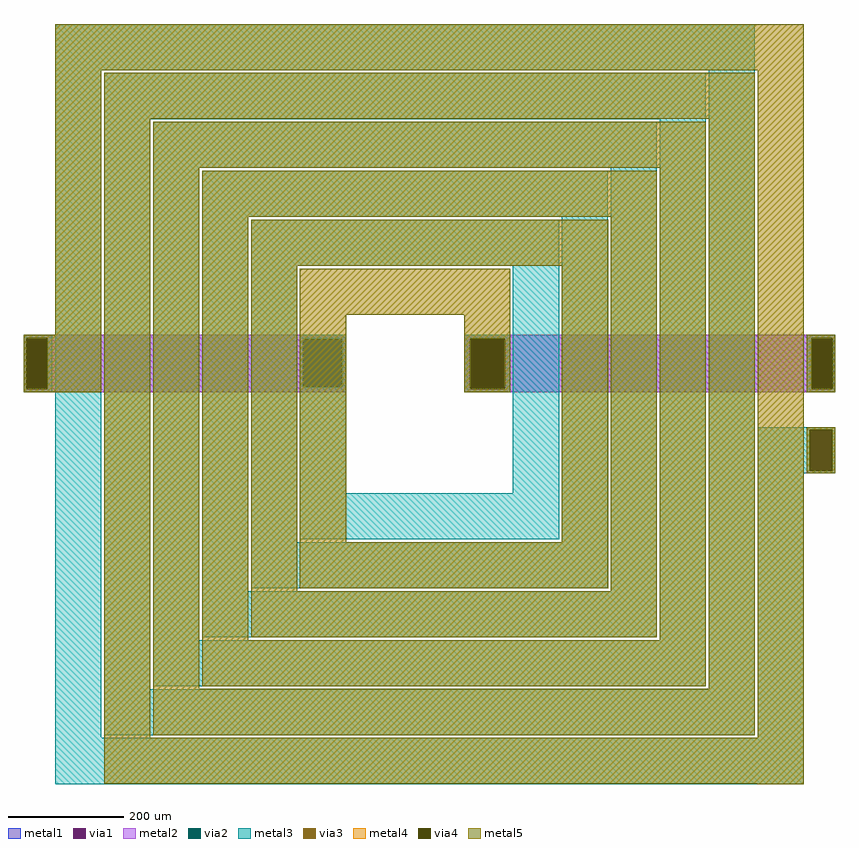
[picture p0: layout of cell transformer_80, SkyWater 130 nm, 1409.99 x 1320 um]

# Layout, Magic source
magic
tech sky130A
<< metal1 >>
rect -54525 36953 1475 37504
rect -54525 28169 -54057 36953
rect -50403 36856 1475 36953
rect -50403 28474 -5940 36856
rect 832 28474 1475 36856
rect -50403 28169 1475 28474
rect -54525 27504 1475 28169
rect 21974 36943 86474 37506
rect 21974 36811 82389 36943
rect 21974 28165 23071 36811
rect 29008 28165 82389 36811
rect 21974 28159 82389 28165
rect 86006 28159 86474 36943
rect 21974 27506 86474 28159
<< via1 >>
rect -54057 28169 -50403 36953
rect -5940 28474 832 36856
rect 23071 28165 29008 36811
rect 82389 28159 86006 36943
<< metal2 >>
rect -54525 36953 1475 37504
rect -54525 28169 -54057 36953
rect -50403 36856 1475 36953
rect -50403 28474 -5940 36856
rect 832 28474 1475 36856
rect -50403 28169 1475 28474
rect -54525 27504 1475 28169
rect 21974 36943 86474 37506
rect 21974 36811 82389 36943
rect 21974 28165 23071 36811
rect 29008 28165 82389 36811
rect 21974 28159 82389 28165
rect 86006 28159 86474 36943
rect 21974 27506 86474 28159
<< via2 >>
rect -54057 28169 -50403 36953
rect -5940 28474 832 36856
rect 23071 28165 29008 36811
rect 82389 28159 86006 36943
<< metal3 >>
rect -49026 83505 72474 91505
rect -54525 36953 -49525 37504
rect -54525 28169 -54057 36953
rect -50403 28169 -49525 36953
rect -54525 27504 -49525 28169
rect -49026 -32495 -41026 83505
rect -40526 75005 63974 83005
rect -40526 -23995 -32526 75005
rect -32026 66505 55474 74505
rect -32026 -15495 -24026 66505
rect -23526 58005 46974 66005
rect -23526 -6995 -15526 58005
rect -15026 49505 38474 57505
rect -15026 1505 -7026 49505
rect -6583 36856 1474 37504
rect -6583 28474 -5940 36856
rect 832 28474 1474 36856
rect -6583 10005 1474 28474
rect 21974 36811 29974 37506
rect 21974 28165 23071 36811
rect 29008 28165 29974 36811
rect 21974 27506 29974 28165
rect 30474 10005 38474 49505
rect -6583 2005 38474 10005
rect 38974 1505 46974 58005
rect -15026 -6495 46974 1505
rect 47474 -6995 55474 66505
rect -23526 -14995 55474 -6995
rect 55974 -15495 63974 75005
rect -32026 -23495 63974 -15495
rect 64474 -23995 72474 83505
rect 81474 36943 86474 37506
rect 81474 28159 82389 36943
rect 86006 28159 86474 36943
rect 81474 27506 86474 28159
rect -40526 -31995 72474 -23995
rect 72974 21056 86474 21505
rect 72974 13886 82020 21056
rect 85894 13886 86474 21056
rect 72974 13505 86474 13886
rect 72974 -32495 80974 13505
rect -49026 -40495 80974 -32495
<< via3 >>
rect -54057 28169 -50403 36953
rect 23071 28165 29008 36811
rect 82389 28159 86006 36943
rect 82020 13886 85894 21056
<< metal4 >>
rect -49025 83505 80975 91505
rect -49025 37504 -41025 83505
rect -54525 36953 -41025 37504
rect -54525 28169 -54057 36953
rect -50403 28169 -41025 36953
rect -54525 27504 -41025 28169
rect -40526 75006 72474 83006
rect -40526 -32494 -32526 75006
rect -32026 66506 63974 74506
rect -32026 -23994 -24026 66506
rect -23526 58006 55474 66006
rect -23526 -15494 -15526 58006
rect -15026 49506 47032 57506
rect -15026 -6994 -7026 49506
rect -6526 41006 29974 49006
rect -6526 1506 1474 41006
rect 21974 36811 29974 41006
rect 21974 28165 23071 36811
rect 29008 28165 29974 36811
rect 21974 27506 29974 28165
rect 38974 1506 47032 49506
rect -6526 -6494 47032 1506
rect 47474 -6994 55474 58006
rect -15026 -14994 55474 -6994
rect 55974 -15494 63974 66506
rect -23526 -23494 63974 -15494
rect 64474 -23994 72474 75006
rect -32026 -31994 72474 -23994
rect 72975 -32494 80975 83505
rect 81474 36943 86474 37506
rect 81474 28159 82389 36943
rect 86006 28159 86474 36943
rect 81474 27506 86474 28159
rect 81474 21056 86474 21505
rect 81474 13886 82020 21056
rect 85894 13886 86474 21056
rect 81474 13505 86474 13886
rect -40526 -40494 80975 -32494
rect 72975 -40495 80975 -40494
<< via4 >>
rect -54057 28169 -50403 36953
rect 23071 28165 29008 36811
rect 82389 28159 86006 36943
rect 82020 13886 85894 21056
<< metal5 >>
rect -49025 83505 80975 91505
rect -49025 37504 -41025 83505
rect -54525 36953 -41025 37504
rect -54525 28169 -54057 36953
rect -50403 28169 -41025 36953
rect -54525 27504 -41025 28169
rect -40526 75006 72474 83006
rect -40526 -32494 -32526 75006
rect -32026 66506 63974 74506
rect -32026 -23994 -24026 66506
rect -23526 58006 55474 66006
rect -23526 -15494 -15526 58006
rect -15026 49506 47032 57506
rect -15026 -6994 -7026 49506
rect -6526 41006 29974 49006
rect -6526 1506 1474 41006
rect 21974 36811 29974 41006
rect 21974 28165 23071 36811
rect 29008 28165 29974 36811
rect 21974 27506 29974 28165
rect 38974 1506 47032 49506
rect -6526 -6494 47032 1506
rect 47474 -6994 55474 58006
rect -15026 -14994 55474 -6994
rect 55974 -15494 63974 66506
rect -23526 -23494 63974 -15494
rect 64474 -23994 72474 75006
rect -32026 -31994 72474 -23994
rect 72975 -32494 80975 83505
rect 81474 36943 86474 37506
rect 81474 28159 82389 36943
rect 86006 28159 86474 36943
rect 81474 27506 86474 28159
rect 81474 21056 86474 21505
rect 81474 13886 82020 21056
rect 85894 13886 86474 21056
rect 81474 13505 86474 13886
rect -40526 -40494 80975 -32494
rect 72975 -40495 80975 -40494
<< end >>
